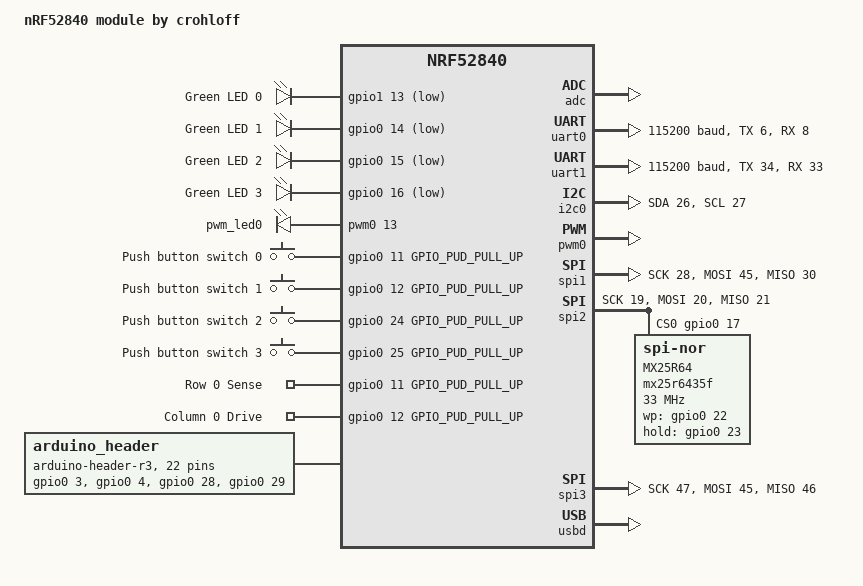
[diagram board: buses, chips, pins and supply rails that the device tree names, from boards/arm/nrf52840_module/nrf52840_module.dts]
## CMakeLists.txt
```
# SPDX-License-Identifier: Apache-2.0

set(BOARD_ROOT ${CMAKE_CURRENT_LIST_DIR})

cmake_minimum_required(VERSION 3.13.1)

include($ENV{ZEPHYR_BASE}/cmake/app/boilerplate.cmake NO_POLICY_SCOPE)
project(keyboard_fw)

FILE(GLOB app_sources src/*.c)
target_sources(app PRIVATE ${app_sources})
```

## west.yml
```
manifest:
  remotes:
    - name: zephyrproject-rtos
      url-base: https://github.com/zephyrproject-rtos
  projects:
    - name: zephyr
      remote: zephyrproject-rtos
      revision: v2.1.0
      import: true
  self:
    path: keyboard_fw
```

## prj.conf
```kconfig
# Generated by Kconfiglib (https://github.com/ulfalizer/Kconfiglib)
CONFIG_SPI=y
CONFIG_SOC_SERIES_NRF52X=y
CONFIG_SOC_NRF52840_QIAA=y
CONFIG_ARM=y
CONFIG_ARM_MPU=y
CONFIG_CONSOLE=y
CONFIG_UART_CONSOLE=y
CONFIG_SERIAL=y
CONFIG_UART_0_NRF_UART=y
CONFIG_LED_STRIP=y
CONFIG_WS2812_STRIP=y
CONFIG_WS2812_STRIP_MAX_PIXELS=70
# CONFIG_WS2812_HAS_WHITE_CHANNEL is not set
CONFIG_LOG=y
```

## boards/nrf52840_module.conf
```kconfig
CONFIG_SPI=y
CONFIG_SPI_1=y
CONFIG_WS2812_STRIP=y
CONFIG_LED_STRIP=y
```

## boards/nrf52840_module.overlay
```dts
/*
 * Copyright (c) 2018 Nordic Semiconductor ASA
 *
 * SPDX-License-Identifier: Apache-2.0
 */

&spi1 {
	ws2812@0 {
		compatible = "worldsemi,ws2812";
		reg = <0>;
		spi-max-frequency = <5250000>;
		label = "WS2812";
	};
};
```

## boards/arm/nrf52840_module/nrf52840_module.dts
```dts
/*
 * Copyright (c) 2017 Linaro Limited
 *
 * SPDX-License-Identifier: Apache-2.0
 */

/dts-v1/;
#include <nordic/nrf52840_qiaa.dtsi>

/ {
	model = "nRF52840 module by crohloff";
	compatible = "nordic,pca10056-dk", "nordic,nrf52840-qiaa",
		     "nordic,nrf52840";

	chosen {
		zephyr,console = &uart0;
		zephyr,shell-uart = &uart0;
		zephyr,uart-mcumgr = &uart0;
		zephyr,bt-mon-uart = &uart0;
		zephyr,bt-c2h-uart = &uart0;
		zephyr,sram = &sram0;
		zephyr,flash = &flash0;
		zephyr,code-partition = &slot0_partition;
	};

	leds {
		compatible = "gpio-leds";
		led0: led_0 {
			gpios = <&gpio1 13 GPIO_INT_ACTIVE_LOW>;
			label = "Green LED 0";
		};
		led1: led_1 {
			gpios = <&gpio0 14 GPIO_INT_ACTIVE_LOW>;
			label = "Green LED 1";
		};
		led2: led_2 {
			gpios = <&gpio0 15 GPIO_INT_ACTIVE_LOW>;
			label = "Green LED 2";
		};
		led3: led_3 {
			gpios = <&gpio0 16 GPIO_INT_ACTIVE_LOW>;
			label = "Green LED 3";
		};
	};

	pwmleds {
		compatible = "pwm-leds";
		pwm_led0: pwm_led_0 {
			pwms = <&pwm0 13>;
		};
	};

	buttons {
		compatible = "gpio-keys";
		button0: button_0 {
			gpios = <&gpio0 11 GPIO_PUD_PULL_UP>;
			label = "Push button switch 0";
		};
		button1: button_1 {
			gpios = <&gpio0 12 GPIO_PUD_PULL_UP>;
			label = "Push button switch 1";
		};
		button2: button_2 {
			gpios = <&gpio0 24 GPIO_PUD_PULL_UP>;
			label = "Push button switch 2";
		};
		button3: button_3 {
			gpios = <&gpio0 25 GPIO_PUD_PULL_UP>;
			label = "Push button switch 3";
		};
    row3: row_0 {
      gpios = <&gpio0 11 GPIO_PUD_PULL_UP>;
      label = "Row 0 Sense";
    };
    column3: column_0 {
      gpios = <&gpio0 12 GPIO_PUD_PULL_UP>;
      label = "Column 0 Drive";
    };
	};

	arduino_header: connector {
		compatible = "arduino-header-r3";
		#gpio-cells = <2>;
		gpio-map-mask = <0xffffffff 0xffffffc0>;
		gpio-map-pass-thru = <0 0x3f>;
		gpio-map = <0 0 &gpio0 3 0>,	/* A0 */
			   <1 0 &gpio0 4 0>,	/* A1 */
			   <2 0 &gpio0 28 0>,	/* A2 */
			   <3 0 &gpio0 29 0>,	/* A3 */
			   <4 0 &gpio0 30 0>,	/* A4 */
			   <5 0 &gpio0 31 0>,	/* A5 */
			   <6 0 &gpio1 1 0>,	/* D0 */
			   <7 0 &gpio1 2 0>,	/* D1 */
			   <8 0 &gpio1 3 0>,	/* D2 */
			   <9 0 &gpio1 4 0>,	/* D3 */
			   <10 0 &gpio1 5 0>,	/* D4 */
			   <11 0 &gpio1 6 0>,	/* D5 */
			   <12 0 &gpio1 7 0>,	/* D6 */
			   <13 0 &gpio1 8 0>,	/* D7 */
			   <14 0 &gpio1 10 0>,	/* D8 */
			   <15 0 &gpio1 11 0>,	/* D9 */
			   <16 0 &gpio1 12 0>,	/* D10 */
			   <17 0 &gpio1 13 0>,	/* D11 */
			   <18 0 &gpio1 14 0>,	/* D12 */
			   <19 0 &gpio1 15 0>,	/* D13 */
			   <20 0 &gpio0 26 0>,	/* D14 */
			   <21 0 &gpio0 27 0>;	/* D15 */
	};

	/* These aliases are provided for compatibility with samples */
	aliases {
		led0 = &led0;
		led1 = &led1;
		led2 = &led2;
		led3 = &led3;
		pwm-led0 = &pwm_led0;
		sw0 = &button0;
		sw1 = &button1;
		sw2 = &button2;
		sw3 = &button3;
    col0 = &column3;
    row0 = &row3;
	};
};

&adc {
	status = "okay";
};

&gpiote {
	status = "okay";
};

&gpio0 {
	status = "okay";
};

&gpio1 {
	status = "okay";
};

&uart0 {
	compatible = "nordic,nrf-uart";
	status = "okay";
	current-speed = <115200>;
	tx-pin = <6>;
	rx-pin = <8>;
	rts-pin = <5>;
	cts-pin = <7>;
};

arduino_serial: &uart1 {
	status = "okay";
	current-speed = <115200>;
	rx-pin = <33>;
	tx-pin = <34>;
};

arduino_i2c: &i2c0 {
	compatible = "nordic,nrf-twi";
	status = "okay";
	sda-pin = <26>;
	scl-pin = <27>;
};

&pwm0 {
	status = "okay";
	ch0-pin = <13>;
	ch0-inverted;
};

&spi1 {
	compatible = "nordic,nrf-spi";
	status = "okay";
	sck-pin = <28>;
	mosi-pin = <45>;
	miso-pin = <30>;
};

&spi2 {
	compatible = "nordic,nrf-spi";
	status = "okay";
	sck-pin = <19>;
	mosi-pin = <20>;
	miso-pin = <21>;
	cs-gpios = <&gpio0 17 0>, <&gpio1 5 0>;
	mx25r64: mx25r6435f@0 {
		compatible = "jedec,spi-nor";
		reg = <0>;
		spi-max-frequency = <33000000>;
		label = "MX25R64";
		jedec-id = [c2 28 17];
		size = <67108864>;
		has-be32k;
		has-dpd;
		t-enter-dpd = <10000>;
		dpd-wakeup-sequence = <30000 20 45000>;
		wp-gpios = <&gpio0 22 0>;
		hold-gpios = <&gpio0 23 0>;
	};
};

arduino_spi: &spi3 {
	status = "okay";
	sck-pin = <47>;
	miso-pin = <46>;
	mosi-pin = <45>;
};

&flash0 {
	/*
	 * For more information, see:
	 * http://docs.zephyrproject.org/latest/guides/dts/index.html#flash-partitions
	 */
	partitions {
		compatible = "fixed-partitions";
		#address-cells = <1>;
		#size-cells = <1>;

		boot_partition: partition@0 {
			label = "mcuboot";
			reg = <0x000000000 0x0000C000>;
		};
		slot0_partition: partition@c000 {
			label = "image-0";
			reg = <0x0000C000 0x000067000>;
		};
		slot1_partition: partition@73000 {
			label = "image-1";
			reg = <0x00073000 0x000067000>;
		};
		scratch_partition: partition@da000 {
			label = "image-scratch";
			reg = <0x000da000 0x0001e000>;
		};

		/*
		 * The flash starting at 0x000f8000 and ending at
		 * 0x000fffff is reserved for use by the application.
		 */

		/* Storage partition will be used by FCB/NFFS/NVS if enabled. */
		storage_partition: partition@f8000 {
			label = "storage";
			reg = <0x000f8000 0x00008000>;
		};
	};
};

&usbd {
	compatible = "nordic,nrf-usbd";
	status = "okay";
};
```

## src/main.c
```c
/*
 * Copyright (c) 2017 Linaro Limited
 * Copyright (c) 2018 Intel Corporation
 *
 * SPDX-License-Identifier: Apache-2.0
 */

#include <errno.h>
#include <string.h>

#define LOG_LEVEL 4
#include <logging/log.h>
LOG_MODULE_REGISTER(main);

#include <zephyr.h>
#include <drivers/led_strip.h>
#include <device.h>
#include <drivers/spi.h>
#include <sys/util.h>

/*
 * Number of RGB LEDs in the LED strip, adjust as needed.
 */
#define STRIP_NUM_LEDS 70
#define STRIP_DEV_NAME DT_INST_0_WORLDSEMI_WS2812_LABEL

#define DELAY_TIME K_MSEC(50)
#define BREATHING_TIME K_MSEC(25)
//0x32 , full brightness would be 255 => TOO MUCH
#define MAX_BRIGHTNESS 25

static const struct led_rgb colors[] = {
	{
		.r = 0x08,
		.g = 0x00,
		.b = 0x00,
	}, /* red */
	{
		.r = 0x00,
		.g = 0x08,
		.b = 0x00,
	}, /* green */
	{
		.r = 0x00,
		.g = 0x00,
		.b = 0x08,
	}, /* blue */
};

static const struct led_rgb black = {
	.r = 0x00,
	.g = 0x00,
	.b = 0x00,
};

static struct led_rgb breathing = {
	.r = 0x00,
	.g = 0x00,
	.b = 0x00,
};

//reihen - spalten
static size_t led_matrix[5][16] = {
	{ 17, 16, 15, 14, 13, 12, 11, 10, 9, 8, 7, 6, 5, 4, 3, 2 },
	{ 18, 19, 20, 21, 22, 23, 24, 25, 26, 27, 28, 29, 30, 31, 0, 1 },
	{ 44, 43, 42, 41, 40, 39, 38, 37, 36, 35, 34, 33, 71, 32, 71, 71 },
	{ 45, 46, 47, 48, 49, 50, 51, 52, 53, 54, 55, 71, 71, 56, 57, 71 },
	{ 69, 68, 67, 66, 71, 65, 71, 64, 71, 63, 62, 71, 61, 60, 59, 58 }
};

struct led_rgb strip_colors[STRIP_NUM_LEDS];

const struct led_rgb *color_at(size_t time, size_t i)
{
	size_t rgb_start = time % STRIP_NUM_LEDS;

	if (rgb_start <= i && i < rgb_start + ARRAY_SIZE(colors)) {
		return &colors[i - rgb_start];
	} else {
		return &black;
	}
}

static void clear_all(void)
{
	struct device *strip;
	size_t i;

	breathing.r = 0;
	breathing.g = 0;
	breathing.b = 0;

	strip = device_get_binding(STRIP_DEV_NAME);
	if (strip) {
		LOG_INF("Found LED strip device %s", STRIP_DEV_NAME);
	} else {
		LOG_ERR("LED strip device %s not found", STRIP_DEV_NAME);
		return;
	}

	for (i = 0; i < STRIP_NUM_LEDS; i++) {
		memcpy(&strip_colors[i], &black, sizeof(strip_colors[i]));
	}
	led_strip_update_rgb(strip, strip_colors, STRIP_NUM_LEDS);
}

static void led_roll(void)
{
	struct device *strip;
	size_t i, j, k;

	strip = device_get_binding(STRIP_DEV_NAME);
	if (strip) {
		LOG_INF("Found LED strip device %s", STRIP_DEV_NAME);
	} else {
		LOG_ERR("LED strip device %s not found", STRIP_DEV_NAME);
		return;
	}

	clear_all();

	for (k = 0; k < 16; k++) {
		for (i = 0; i < STRIP_NUM_LEDS; i++) {
			memcpy(&strip_colors[i], &black,
			       sizeof(strip_colors[i]));
		}
		for (j = 0; j < 5; j++) {
			memcpy(&strip_colors[led_matrix[j][k]], &colors[1],
			       sizeof(strip_colors[led_matrix[j][k]]));
		}
		led_strip_update_rgb(strip, strip_colors, STRIP_NUM_LEDS);
		k_sleep(K_MSEC(50));
	}
}

static void led_breathing(void)
{
	struct device *strip;
	size_t i, j;

	strip = device_get_binding(STRIP_DEV_NAME);
	if (strip) {
		LOG_INF("Found LED strip device %s", STRIP_DEV_NAME);
	} else {
		LOG_ERR("LED strip device %s not found", STRIP_DEV_NAME);
		return;
	}

	for (j = 0; j < MAX_BRIGHTNESS; j++) {
		breathing.r = j;
		for (i = 0; i < STRIP_NUM_LEDS; i++) {
			memcpy(&strip_colors[i], &breathing,
			       sizeof(strip_colors[i]));
		}
		led_strip_update_rgb(strip, strip_colors, STRIP_NUM_LEDS);
		k_sleep(BREATHING_TIME);
	}

	for (j = MAX_BRIGHTNESS; j > 0; j--) {
		breathing.r = j;
		for (i = 0; i < STRIP_NUM_LEDS; i++) {
			memcpy(&strip_colors[i], &breathing,
			       sizeof(strip_colors[i]));
		}
		led_strip_update_rgb(strip, strip_colors, STRIP_NUM_LEDS);
		k_sleep(BREATHING_TIME);
	}
	clear_all();

	k_sleep(K_MSEC(1000));

	for (j = 0; j < MAX_BRIGHTNESS; j++) {
		breathing.g = j;
		for (i = 0; i < STRIP_NUM_LEDS; i++) {
			memcpy(&strip_colors[i], &breathing,
			       sizeof(strip_colors[i]));
		}
		led_strip_update_rgb(strip, strip_colors, STRIP_NUM_LEDS);
		k_sleep(BREATHING_TIME);
	}

	for (j = MAX_BRIGHTNESS; j > 0; j--) {
		breathing.g = j;
		for (i = 0; i < STRIP_NUM_LEDS; i++) {
			memcpy(&strip_colors[i], &breathing,
			       sizeof(strip_colors[i]));
		}
		led_strip_update_rgb(strip, strip_colors, STRIP_NUM_LEDS);
		k_sleep(BREATHING_TIME);
	}
	clear_all();

	k_sleep(K_MSEC(1000));

	for (j = 0; j < MAX_BRIGHTNESS; j++) {
		breathing.b = j;
		for (i = 0; i < STRIP_NUM_LEDS; i++) {
			memcpy(&strip_colors[i], &breathing,
			       sizeof(strip_colors[i]));
		}
		led_strip_update_rgb(strip, strip_colors, STRIP_NUM_LEDS);
		k_sleep(BREATHING_TIME);
	}

	for (j = MAX_BRIGHTNESS; j > 0; j--) {
		breathing.b = j;
		for (i = 0; i < STRIP_NUM_LEDS; i++) {
			memcpy(&strip_colors[i], &breathing,
			       sizeof(strip_colors[i]));
		}
		led_strip_update_rgb(strip, strip_colors, STRIP_NUM_LEDS);
		k_sleep(BREATHING_TIME);
	}
	clear_all();

	k_sleep(K_MSEC(1000));
}

static void led_walking(void)
{
	struct device *strip;
	size_t i, time, j;

	strip = device_get_binding(STRIP_DEV_NAME);
	if (strip) {
		LOG_INF("Found LED strip device %s", STRIP_DEV_NAME);
	} else {
		LOG_ERR("LED strip device %s not found", STRIP_DEV_NAME);
		return;
	}

	/*
	 * Display a pattern that "walks" the three primary colors
	 * down the strip until it reaches the end, then starts at the
	 * beginning. This has the effect of moving it around in a
	 * circle in the case of rings of pixels.
	 */
	LOG_INF("Displaying pattern on strip");
	time = 0;
	for (j = 0; j < STRIP_NUM_LEDS * 3; j++) {
		for (i = 0; i < STRIP_NUM_LEDS; i++) {
			memcpy(&strip_colors[i], color_at(time, i),
			       sizeof(strip_colors[i]));
		}

		led_strip_update_rgb(strip, strip_colors, STRIP_NUM_LEDS);
		k_sleep(DELAY_TIME);

		time++;
	}
	clear_all();
	k_sleep(K_MSEC(1000));
}

static void led_rgb(void)
{
	struct device *strip;
	size_t i;

	strip = device_get_binding(STRIP_DEV_NAME);
	if (strip) {
		LOG_INF("Found LED strip device %s", STRIP_DEV_NAME);
	} else {
		LOG_ERR("LED strip device %s not found", STRIP_DEV_NAME);
		return;
	}

	for (i = 0; i < STRIP_NUM_LEDS; i++) {
		memcpy(&strip_colors[i], &colors[0], sizeof(strip_colors[i]));
	}
	led_strip_update_rgb(strip, strip_colors, STRIP_NUM_LEDS);
	k_sleep(K_MSEC(1000));

	for (i = 0; i < STRIP_NUM_LEDS; i++) {
		memcpy(&strip_colors[i], &colors[1], sizeof(strip_colors[i]));
	}
	led_strip_update_rgb(strip, strip_colors, STRIP_NUM_LEDS);
	k_sleep(K_MSEC(1000));

	for (i = 0; i < STRIP_NUM_LEDS; i++) {
		memcpy(&strip_colors[i], &colors[2], sizeof(strip_colors[i]));
	}
	led_strip_update_rgb(strip, strip_colors, STRIP_NUM_LEDS);
	k_sleep(K_MSEC(1000));
}

void main(void)
{
	size_t i;
	LOG_INF("Starting LED demo patterns");

	while (1) {
		led_rgb();

		led_breathing();

		led_walking();
		for (i = 0; i < 5; i++) {
			led_roll();
		}
	}
}
```
